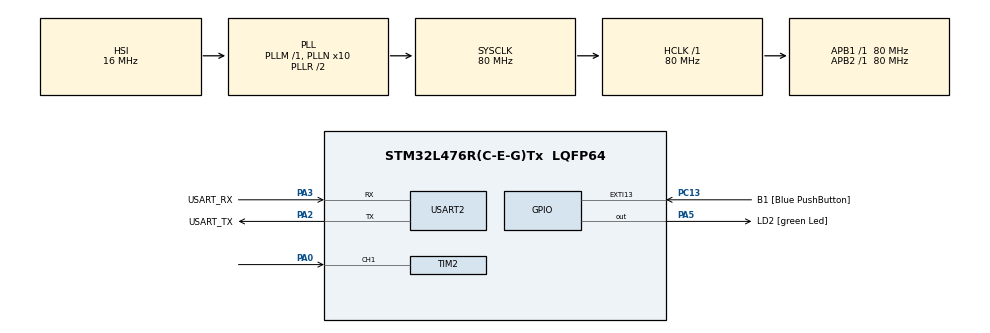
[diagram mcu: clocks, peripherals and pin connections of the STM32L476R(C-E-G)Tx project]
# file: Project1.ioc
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Mcu.Family=STM32L4
Mcu.Name=STM32L476R(C-E-G)Tx
Mcu.Package=LQFP64
NVIC.PriorityGroup=NVIC_PRIORITYGROUP_4
NVIC.TIM2_IRQn=true\:0\:0\:false\:false\:true\:true\:true\:true
PA0.Signal=S_TIM2_CH1
PA13\ (JTMS-SWDIO).GPIO_Label=TMS
PA13\ (JTMS-SWDIO).Mode=Serial_Wire
PA13\ (JTMS-SWDIO).Signal=SYS_JTMS-SWDIO
PA14\ (JTCK-SWCLK).GPIO_Label=TCK
PA14\ (JTCK-SWCLK).Mode=Serial_Wire
PA14\ (JTCK-SWCLK).Signal=SYS_JTCK-SWCLK
PA2.GPIO_Label=USART_TX
PA2.GPIO_Mode=GPIO_MODE_AF_PP
PA2.GPIO_PuPd=GPIO_NOPULL
PA2.GPIO_Speed=GPIO_SPEED_FREQ_VERY_HIGH
PA2.Mode=Asynchronous
PA2.Signal=USART2_TX
PA3.GPIO_Label=USART_RX
PA3.GPIO_Mode=GPIO_MODE_AF_PP
PA3.GPIO_PuPd=GPIO_NOPULL
PA3.GPIO_Speed=GPIO_SPEED_FREQ_VERY_HIGH
PA3.Mode=Asynchronous
PA3.Signal=USART2_RX
PA5.GPIO_Label=LD2 [green Led]
PA5.GPIO_ModeDefaultOutputPP=GPIO_MODE_OUTPUT_PP
PA5.GPIO_PuPd=GPIO_NOPULL
PA5.GPIO_Speed=GPIO_SPEED_FREQ_LOW
PA5.Signal=GPIO_Output
PB3\ (JTDO-TRACESWO).GPIO_Label=SWO
PB3\ (JTDO-TRACESWO).Signal=SYS_JTDO-SWO
PC13.GPIO_Label=B1 [Blue PushButton]
PC13.GPIO_ModeDefaultEXTI=GPIO_MODE_IT_FALLING
PC13.GPIO_PuPd=GPIO_NOPULL
PC13.Signal=GPXTI13
PC14-OSC32_IN\ (PC14).Mode=LSE-External-Oscillator
PC14-OSC32_IN\ (PC14).Signal=RCC_OSC32_IN
PC15-OSC32_OUT\ (PC15).Mode=LSE-External-Oscillator
PC15-OSC32_OUT\ (PC15).Signal=RCC_OSC32_OUT
PH0-OSC_IN\ (PH0).Signal=RCC_OSC_IN
PH1-OSC_OUT\ (PH1).Signal=RCC_OSC_OUT
ProjectManager.HeapSize=0x200
ProjectManager.StackSize=0x400
ProjectManager.TargetToolchain=STM32CubeIDE
RCC.ADCFreq_Value=64000000
RCC.AHBFreq_Value=80000000
RCC.APB1Freq_Value=80000000
RCC.APB1TimFreq_Value=80000000
RCC.APB2Freq_Value=80000000
RCC.APB2TimFreq_Value=80000000
RCC.CortexFreq_Value=80000000
RCC.HCLKFreq_Value=80000000
RCC.HSE_VALUE=8000000
RCC.HSI_VALUE=16000000
RCC.MSI_VALUE=4000000
RCC.PLLN=10
RCC.PLLSourceVirtual=RCC_PLLSOURCE_HSI
RCC.PREFETCH_ENABLE=1
RCC.SYSCLKFreq_VALUE=80000000
RCC.SYSCLKSource=RCC_SYSCLKSOURCE_PLLCLK
RCC.USBFreq_Value=64000000
RCC.VCOOutputFreq_Value=160000000
SH.S_TIM2_CH1.0=TIM2_CH1,Input_Capture1_from_TI1
TIM2.AutoReloadPreload=TIM_AUTORELOAD_PRELOAD_ENABLE
TIM2.Channel-Input_Capture1_from_TI1=TIM_CHANNEL_1
TIM2.Prescaler=79
USART2.VirtualMode-Asynchronous=VM_ASYNC
VP_TIM2_VS_ClockSourceINT.Mode=Internal
board=NUCLEO-L476RG

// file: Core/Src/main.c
/* USER CODE BEGIN Header */
/**
  ******************************************************************************
  * @file           : main.c
  * @brief          : Main program body
  ******************************************************************************
  * @attention
  *
  * Copyright (c) 2022 STMicroelectronics.
  * All rights reserved.
  *
  * This software is licensed under terms that can be found in the LICENSE file
  * in the root directory of this software component.
  * If no LICENSE file comes with this software, it is provided AS-IS.
  *
  ******************************************************************************
  */
/* USER CODE END Header */
#include "main.h"
#include "stdlib.h"
#include "uart.h"
#include <string.h>
#include <stdio.h>

/* USER CODE BEGIN PTD */

// Bucket structure to hold Bucket information
typedef struct Bucket {
	uint32_t period;
	uint32_t count;
} Bucket;

/* USER CODE END PTD */

TIM_HandleTypeDef htim2;

UART_HandleTypeDef huart2;

/* USER CODE BEGIN PV */
// Private constants
const short MAX_PULSES_READ = 1000;
const uint32_t MAX_PERIOD = 1000000;
const uint16_t MIN_PERIOD = 50;
const uint16_t BUCKET_AMOUNT = 100;
const uint8_t  CARRAIGE_RETURN = 13;
const uint32_t DEFAULT_PERIOD = 1000;
const char MESSAGE[] = "Enter expected period or Press Enter if no change (DEFAULT 1000)";
// Private variables
char buffer[50];
struct Bucket buckets[100];

uint32_t prev_time = 0, curr_time, diff_time;
uint32_t period;

/* USER CODE END PV */

void SystemClock_Config(void);
static void MX_GPIO_Init(void);
static void MX_USART2_UART_Init(void);
static void MX_TIM2_Init(void);
/* USER CODE BEGIN PFP */
// runs the power on self-test. Returns true if the test passes, false otherwise
_Bool power_on_self_test(void);
// ask user for expected period, sets timer clock accordingly. Return period or 0 if invalid
int set_time_base(uint16_t base);
// Captures 1 line of text from console. Returns nul terminated string when \n is entered
void get_line (char *buffer, int max_length);
// Gets the amount of pulses specified and puts information into the given bucket array
void get_pulses(struct Bucket *buckets, int max_pulses);
// Adds a period to a bucket
void add_to_bucket(struct Bucket *buckets, uint32_t pulses);
// Prints out the buckets statistics to the terminal through UART
void print_buckets(struct Bucket *buckets);
// Prints out given String
void print(char *str);
/* USER CODE END PFP */

/* USER CODE BEGIN 0 */

// USER FUNCTIONS
_Bool power_on_self_test() {
	uint32_t first, second, difference;

	// Print post
	print("POST: Performing...");

	// Get the first capture
	while(!(TIM2->SR & TIM_SR_CC1IF));
	first = TIM2->CCR1;

	while(!(TIM2->SR & TIM_SR_CC1IF));
	second = TIM2->CCR1;

	difference = second - first;
	if (difference > (100 * 1000)) {
		print("POST: Failed, did not receive a pulse less than 100 milliseconds long");
		return 0;
	}

	print("POST: Successful");
	return 1;

}

int set_timer_base(uint16_t base) {
	char buff[30];

	if (base < MIN_PERIOD) return 0;
	else if (base > MAX_PERIOD ) return 0;
	else {
		for(int i = 0; i < BUCKET_AMOUNT; i++) {
			buckets[i].period = (base - 50) + i;
		}
		sprintf(buff, "Expected period set to %d", base);
		print(buff);
		return base;
	}
}

void get_line(char *buffer, int max_length) {
	uint16_t count = 0;

	do {
		// Get last entered Input
		buffer[count] = USART_Read(USART2);
		// Write it to the screen
		USART_Write(USART2, &buffer[count], 1);
		// increase count so we know amount of characters inputed
		count++;
	}
	// While we do no have an enter input
	while(buffer[count-1] != CARRAIGE_RETURN);
}

void get_pulses(struct Bucket *buckets, int max_pulses) {
	uint8_t  pulses = 0;

	print("Reading Periods...");

	while (pulses < MAX_PULSES_READ) {
		// Check the timer 2 capture flag (CCXIF flag (TIMx_SR register)) to go high and retrieve from CCR register
		if (TIM2->SR & TIM_SR_CC1IF) {
			// First pulse
			if (prev_time == 0) { prev_time = TIM2->CCR1; }
			// Past first pulse
			else {
				// Get the current time
				curr_time = TIM2->CCR1;
				// Get the difference time
				diff_time = curr_time - prev_time;
				// Set the current time to the previous time
				prev_time = curr_time;
				// Increase count of pulses
				pulses++;
				// Update count with frequency
				add_to_bucket(buckets, diff_time);
			}
		}
	}
}

void add_to_bucket(struct Bucket *buckets, uint32_t period) {
	for	(int i = 0; i < BUCKET_AMOUNT; i++) {
		if (buckets[i].period == period) {
			buckets[i].count = buckets[i].count + 1;
			return;
		}
	}
}

void print_buckets(struct Bucket *buckets) {
	char message[30];
	uint16_t n;

	print("\r\n BUCKETS");

	for (int i = 0; i < BUCKET_AMOUNT; i++) {
		if (buckets[i].count != 0) {
			n = sprintf(message, "Period: %d, Count: %d\r\n", buckets[i].period, buckets[i].count);
			USART_Write(USART2, message, n);
		}
	}
}

void print(char *str) {
	uint32_t n = sprintf(str, str);
	USART_Write(USART2, str, n);
	USART_Write(USART2, "\r\n", 2);
}

/* USER CODE END 0 */

int main(void)
{

  /* MCU Configuration--------------------------------------------------------*/

  /* Reset of all peripherals, Initializes the Flash interface and the Systick. */
  HAL_Init();

  /* Configure the system clock */
  SystemClock_Config();

  /* Initialize all configured peripherals */
  MX_GPIO_Init();
  MX_USART2_UART_Init();
  MX_TIM2_Init();
  /* USER CODE BEGIN 2 */
  // Check to make sure power is on
  while( power_on_self_test() == 0);
  /* USER CODE END 2 */

  /* Infinite loop */
	while (1)
	{

    /* USER CODE BEGIN 3 */
		// 1. Print “Enter expected period or <CR> if no change�?. Wait for user response
		print(MESSAGE);
		get_line(buffer, 10);
		if (buffer[0] == CARRAIGE_RETURN) {
			period = DEFAULT_PERIOD;
		}
		else {
			period = atoi(buffer);
		}

		// 2. if yes, read new period then set up timer clock
		while( set_timer_base(period) == 0 );

		// 3. read 100 pulses
		get_pulses(buckets, MAX_PULSES_READ);

		// 4. print out results
		print_buckets(buckets);
	}
  /* USER CODE END 3 */
}

void SystemClock_Config(void)
{
  RCC_OscInitTypeDef RCC_OscInitStruct = {0};
  RCC_ClkInitTypeDef RCC_ClkInitStruct = {0};

  /** Configure the main internal regulator output voltage
  */
  if (HAL_PWREx_ControlVoltageScaling(PWR_REGULATOR_VOLTAGE_SCALE1) != HAL_OK)
  {
    Error_Handler();
  }

  /** Initializes the RCC Oscillators according to the specified parameters
  * in the RCC_OscInitTypeDef structure.
  */
  RCC_OscInitStruct.OscillatorType = RCC_OSCILLATORTYPE_HSI;
  RCC_OscInitStruct.HSIState = RCC_HSI_ON;
  RCC_OscInitStruct.HSICalibrationValue = RCC_HSICALIBRATION_DEFAULT;
  RCC_OscInitStruct.PLL.PLLState = RCC_PLL_ON;
  RCC_OscInitStruct.PLL.PLLSource = RCC_PLLSOURCE_HSI;
  RCC_OscInitStruct.PLL.PLLM = 1;
  RCC_OscInitStruct.PLL.PLLN = 10;
  RCC_OscInitStruct.PLL.PLLP = RCC_PLLP_DIV7;
  RCC_OscInitStruct.PLL.PLLQ = RCC_PLLQ_DIV2;
  RCC_OscInitStruct.PLL.PLLR = RCC_PLLR_DIV2;
  if (HAL_RCC_OscConfig(&RCC_OscInitStruct) != HAL_OK)
  {
    Error_Handler();
  }

  /** Initializes the CPU, AHB and APB buses clocks
  */
  RCC_ClkInitStruct.ClockType = RCC_CLOCKTYPE_HCLK|RCC_CLOCKTYPE_SYSCLK
                              |RCC_CLOCKTYPE_PCLK1|RCC_CLOCKTYPE_PCLK2;
  RCC_ClkInitStruct.SYSCLKSource = RCC_SYSCLKSOURCE_PLLCLK;
  RCC_ClkInitStruct.AHBCLKDivider = RCC_SYSCLK_DIV1;
  RCC_ClkInitStruct.APB1CLKDivider = RCC_HCLK_DIV1;
  RCC_ClkInitStruct.APB2CLKDivider = RCC_HCLK_DIV1;

  if (HAL_RCC_ClockConfig(&RCC_ClkInitStruct, FLASH_LATENCY_4) != HAL_OK)
  {
    Error_Handler();
  }
}

static void MX_TIM2_Init(void)
{

  TIM_ClockConfigTypeDef sClockSourceConfig = {0};
  TIM_MasterConfigTypeDef sMasterConfig = {0};
  TIM_IC_InitTypeDef sConfigIC = {0};

  htim2.Instance = TIM2;
  htim2.Init.Prescaler = 79;
  htim2.Init.CounterMode = TIM_COUNTERMODE_UP;
  htim2.Init.Period = 4294967295;
  htim2.Init.ClockDivision = TIM_CLOCKDIVISION_DIV1;
  htim2.Init.AutoReloadPreload = TIM_AUTORELOAD_PRELOAD_ENABLE;
  if (HAL_TIM_Base_Init(&htim2) != HAL_OK)
  {
    Error_Handler();
  }
  sClockSourceConfig.ClockSource = TIM_CLOCKSOURCE_INTERNAL;
  if (HAL_TIM_ConfigClockSource(&htim2, &sClockSourceConfig) != HAL_OK)
  {
    Error_Handler();
  }
  if (HAL_TIM_IC_Init(&htim2) != HAL_OK)
  {
    Error_Handler();
  }
  sMasterConfig.MasterOutputTrigger = TIM_TRGO_RESET;
  sMasterConfig.MasterSlaveMode = TIM_MASTERSLAVEMODE_DISABLE;
  if (HAL_TIMEx_MasterConfigSynchronization(&htim2, &sMasterConfig) != HAL_OK)
  {
    Error_Handler();
  }
  sConfigIC.ICPolarity = TIM_INPUTCHANNELPOLARITY_RISING;
  sConfigIC.ICSelection = TIM_ICSELECTION_DIRECTTI;
  sConfigIC.ICPrescaler = TIM_ICPSC_DIV1;
  sConfigIC.ICFilter = 0;
  if (HAL_TIM_IC_ConfigChannel(&htim2, &sConfigIC, TIM_CHANNEL_1) != HAL_OK)
  {
    Error_Handler();
  }
  /* USER CODE BEGIN TIM2_Init 2 */
  HAL_TIM_Base_Start(&htim2);
  HAL_TIM_IC_Start(&htim2, TIM_CHANNEL_1);
  /* USER CODE END TIM2_Init 2 */

}

static void MX_USART2_UART_Init(void)
{

  huart2.Instance = USART2;
  huart2.Init.BaudRate = 115200;
  huart2.Init.WordLength = UART_WORDLENGTH_8B;
  huart2.Init.StopBits = UART_STOPBITS_1;
  huart2.Init.Parity = UART_PARITY_NONE;
  huart2.Init.Mode = UART_MODE_TX_RX;
  huart2.Init.HwFlowCtl = UART_HWCONTROL_NONE;
  huart2.Init.OverSampling = UART_OVERSAMPLING_16;
  huart2.Init.OneBitSampling = UART_ONE_BIT_SAMPLE_DISABLE;
  huart2.AdvancedInit.AdvFeatureInit = UART_ADVFEATURE_NO_INIT;
  if (HAL_UART_Init(&huart2) != HAL_OK)
  {
    Error_Handler();
  }

}

static void MX_GPIO_Init(void)
{
  GPIO_InitTypeDef GPIO_InitStruct = {0};

  /* GPIO Ports Clock Enable */
  __HAL_RCC_GPIOC_CLK_ENABLE();
  __HAL_RCC_GPIOH_CLK_ENABLE();
  __HAL_RCC_GPIOA_CLK_ENABLE();
  __HAL_RCC_GPIOB_CLK_ENABLE();

  /*Configure GPIO pin Output Level */
  HAL_GPIO_WritePin(LD2_GPIO_Port, LD2_Pin, GPIO_PIN_RESET);

  /*Configure GPIO pin : B1_Pin */
  GPIO_InitStruct.Pin = B1_Pin;
  GPIO_InitStruct.Mode = GPIO_MODE_IT_FALLING;
  GPIO_InitStruct.Pull = GPIO_NOPULL;
  HAL_GPIO_Init(B1_GPIO_Port, &GPIO_InitStruct);

  /*Configure GPIO pin : LD2_Pin */
  GPIO_InitStruct.Pin = LD2_Pin;
  GPIO_InitStruct.Mode = GPIO_MODE_OUTPUT_PP;
  GPIO_InitStruct.Pull = GPIO_NOPULL;
  GPIO_InitStruct.Speed = GPIO_SPEED_FREQ_LOW;
  HAL_GPIO_Init(LD2_GPIO_Port, &GPIO_InitStruct);

}

void Error_Handler(void)
{
  __disable_irq();
  while (1)
  {
  }
}
